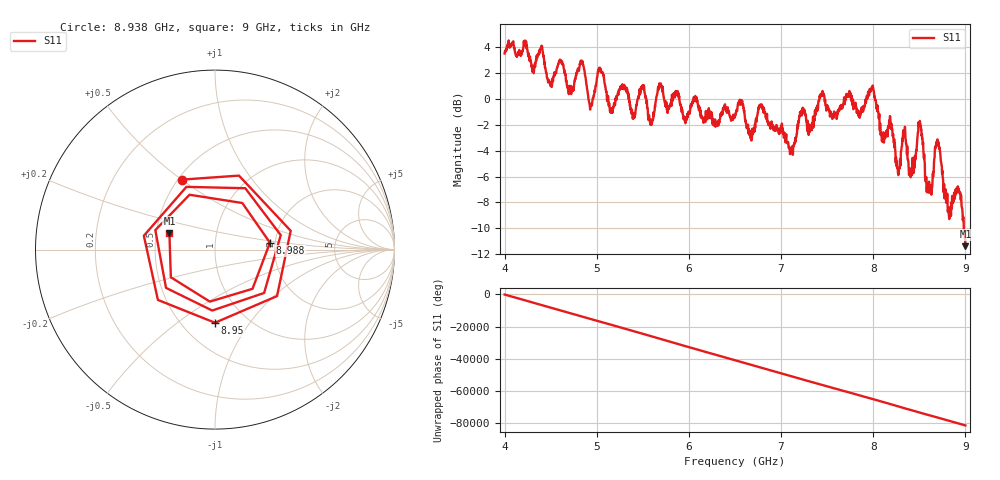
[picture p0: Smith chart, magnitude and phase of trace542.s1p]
! Created with skrf 1.8.0 (http://scikit-rf.org).
# Hz S RI R 50.0
!freq ReS11 ImS11
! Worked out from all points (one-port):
!   1601 points, 4 GHz to 9 GHz, reference 50 ohm
!   lowest |S11| = -11.4 dB at 9 GHz (marker M1), VSWR 1.74, Z = 29.3 + j5.76 ohm
!   |S11| at or under -10 dB: 8.98268 GHz to end of sweep
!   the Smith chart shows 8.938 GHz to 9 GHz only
!   S11 on the Smith chart (normalised r, x): 8.938 GHz: 0.53, +0.50; 8.95 GHz: 0.72, -0.70; 8.988 GHz: 1.87, +0.16; 9 GHz: 0.59, +0.12
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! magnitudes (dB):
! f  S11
! 4 GHz  3.5
! 4.625 GHz  2.9
! 4.716 GHz  0.9
! 4.841 GHz  2.7
! 4.934 GHz  -0.5
! 5.034 GHz  2.4
! 5.153 GHz  -1.1
! 5.25 GHz  0.7
! 5.5 GHz  1.0
! 5.588 GHz  -2.0
! 5.684 GHz  1.1
! 5.875 GHz  0.5
! 6.5 GHz  -1.3
! 7.125 GHz  -3.6
! 7.231 GHz  -1.0
! 7.75 GHz  0.3
! 7.984 GHz  0.9
! 8.269 GHz  -5.8
! 8.331 GHz  -2.6
! 8.375 GHz  -4.7
! 8.509 GHz  -1.9
! 8.594 GHz  -6.5
! 8.697 GHz  -3.1
! 8.819 GHz  -8.9
! 8.938 GHz  -7.3
! 8.95 GHz  -7.8
! 8.988 GHz  -10.2
! 9 GHz  -11.4
